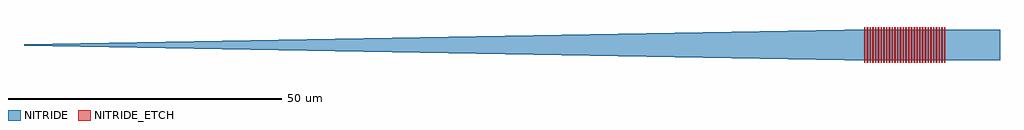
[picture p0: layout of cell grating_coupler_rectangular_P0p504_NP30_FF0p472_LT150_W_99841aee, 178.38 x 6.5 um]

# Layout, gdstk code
import gdstk
lib = gdstk.Library(unit=1e-6, precision=1e-09)
def R(c, l, rs):  # rectangles x0, y0, x1, y1
    for r in rs: c.add(gdstk.rectangle(r[:2], r[2:], *l))
def A(c, l, x, y, w, h, nx, ny, dx, dy):  # array of equal rectangles
    R(c, l, [(x+i*dx, y+j*dy, x+i*dx+w, y+j*dy+h) for i in range(nx) for j in range(ny)])
def P(c, l, *ps):  # polygons
    for p in ps: c.add(gdstk.Polygon(p, *l))
NITRIDE = (203, 0)
NITRIDE_ETCH = (204, 0)

grating_coupler_rectangu = lib.new_cell('grating_coupler_rectangular_P0p504_NP30_FF0p472_LT150_W_99841aee')
P(grating_coupler_rectangu, NITRIDE, [(150,-2.75),(0,-0.18),(0,0.18),(150,2.75),(178.38,2.75),(178.38,-2.75)])
A(grating_coupler_rectangu, NITRIDE_ETCH, 153.538, -3.25, 0.238, 6.5, 30, 1, 0.504, 0)

lib.write_gds('grating_coupler_rectangular_P0p504_NP30_FF0p472_LT150_W_99841aee.gds')
